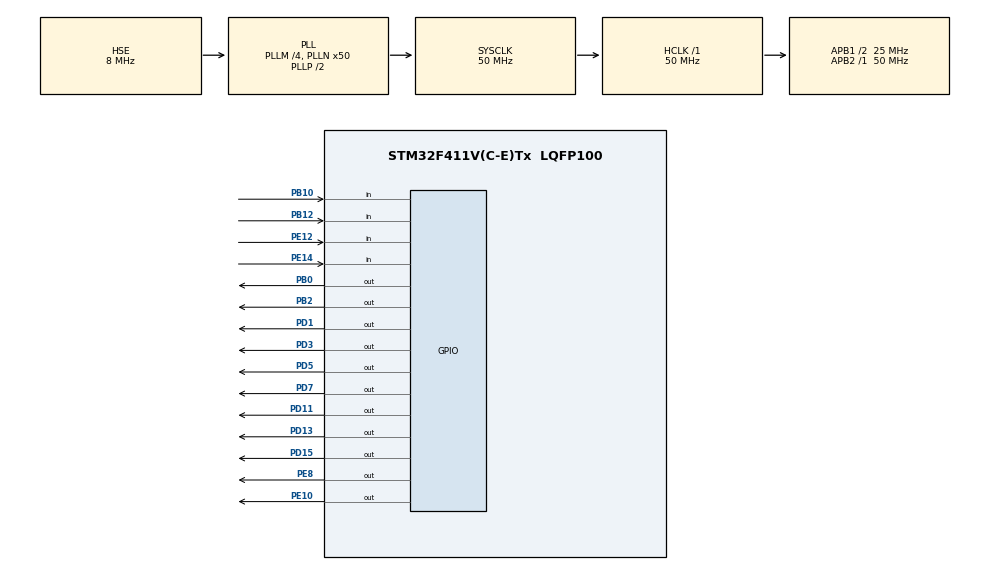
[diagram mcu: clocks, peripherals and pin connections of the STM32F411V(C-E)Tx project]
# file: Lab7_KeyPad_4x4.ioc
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Mcu.Family=STM32F4
Mcu.Name=STM32F411V(C-E)Tx
Mcu.Package=LQFP100
NVIC.PriorityGroup=NVIC_PRIORITYGROUP_4
PA13.Mode=Serial_Wire
PA13.Signal=SYS_JTMS-SWDIO
PA14.Mode=Serial_Wire
PA14.Signal=SYS_JTCK-SWCLK
PB0.Signal=GPIO_Output
PB10.GPIO_PuPd=GPIO_PULLUP
PB10.Signal=GPIO_Input
PB12.GPIO_PuPd=GPIO_PULLUP
PB12.Signal=GPIO_Input
PB2.Signal=GPIO_Output
PD1.GPIO_Speed=GPIO_SPEED_FREQ_MEDIUM
PD1.Signal=GPIO_Output
PD11.GPIO_Speed=GPIO_SPEED_FREQ_MEDIUM
PD11.Signal=GPIO_Output
PD13.GPIO_Speed=GPIO_SPEED_FREQ_MEDIUM
PD13.Signal=GPIO_Output
PD15.GPIO_Speed=GPIO_SPEED_FREQ_MEDIUM
PD15.Signal=GPIO_Output
PD3.GPIO_Speed=GPIO_SPEED_FREQ_MEDIUM
PD3.Signal=GPIO_Output
PD5.GPIO_Speed=GPIO_SPEED_FREQ_MEDIUM
PD5.Signal=GPIO_Output
PD7.GPIO_Speed=GPIO_SPEED_FREQ_MEDIUM
PD7.Signal=GPIO_Output
PE10.Signal=GPIO_Output
PE12.GPIO_PuPd=GPIO_PULLUP
PE12.Signal=GPIO_Input
PE14.GPIO_PuPd=GPIO_PULLUP
PE14.Signal=GPIO_Input
PE8.Signal=GPIO_Output
PH0\ -\ OSC_IN.Mode=HSE-External-Oscillator
PH0\ -\ OSC_IN.Signal=RCC_OSC_IN
PH1\ -\ OSC_OUT.Mode=HSE-External-Oscillator
PH1\ -\ OSC_OUT.Signal=RCC_OSC_OUT
ProjectManager.HeapSize=0x200
ProjectManager.StackSize=0x400
ProjectManager.TargetToolchain=STM32CubeIDE
RCC.48MHZClocksFreq_Value=25000000
RCC.AHBFreq_Value=50000000
RCC.APB1CLKDivider=RCC_HCLK_DIV2
RCC.APB1Freq_Value=25000000
RCC.APB1TimFreq_Value=50000000
RCC.APB2Freq_Value=50000000
RCC.APB2TimFreq_Value=50000000
RCC.CortexFreq_Value=50000000
RCC.HCLKFreq_Value=50000000
RCC.HSE_VALUE=8000000
RCC.HSI_VALUE=16000000
RCC.LSE_VALUE=32768
RCC.PLLM=4
RCC.PLLN=50
RCC.PLLSourceVirtual=RCC_PLLSOURCE_HSE
RCC.SYSCLKFreq_VALUE=50000000
RCC.SYSCLKSource=RCC_SYSCLKSOURCE_PLLCLK
RCC.VCOOutputFreq_Value=100000000
board=custom

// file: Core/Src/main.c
/* USER CODE BEGIN Header */
/**
  ******************************************************************************
  * @file           : main.c
  * @brief          : Main program body
  ******************************************************************************
  * @attention
  *
  * Copyright (c) 2022 STMicroelectronics.
  * All rights reserved.
  *
  * This software is licensed under terms that can be found in the LICENSE file
  * in the root directory of this software component.
  * If no LICENSE file comes with this software, it is provided AS-IS.
  *
  ******************************************************************************
  */
/* USER CODE END Header */
#include "main.h"

/* USER CODE BEGIN Includes */
#include "lcd_text.h"
#include "stdio.h"
#include "string.h"
/* USER CODE END Includes */

/* USER CODE BEGIN PD */
#define C1_PORT GPIOB
#define C1_PIN GPIO_PIN_0

#define C2_PORT GPIOB
#define C2_PIN GPIO_PIN_2

#define C3_PORT GPIOE
#define C3_PIN GPIO_PIN_8

#define C4_PORT GPIOE
#define C4_PIN GPIO_PIN_10

#define R1_PORT GPIOE
#define R1_PIN GPIO_PIN_12

#define R2_PORT GPIOE
#define R2_PIN GPIO_PIN_14

#define R3_PORT GPIOB
#define R3_PIN GPIO_PIN_10

#define R4_PORT GPIOB
#define R4_PIN GPIO_PIN_12
/* USER CODE END PD */

void SystemClock_Config(void);
static void MX_GPIO_Init(void);

/* USER CODE BEGIN 0 */
char key;
char stringArray[40] = "";
int count = 0;
char read_keypad(void) {
	/* Make ROW 1 LOW and all other ROWs HIGH */

	HAL_GPIO_WritePin(C1_PORT, C1_PIN, GPIO_PIN_RESET);
	HAL_GPIO_WritePin(C2_PORT, C2_PIN, GPIO_PIN_SET);
	HAL_GPIO_WritePin(C3_PORT, C3_PIN, GPIO_PIN_SET);
	HAL_GPIO_WritePin(C4_PORT, C4_PIN, GPIO_PIN_SET);

	if ((HAL_GPIO_ReadPin(R1_PORT, R1_PIN)) == 0)
			{
		while ((HAL_GPIO_ReadPin(R1_PORT, R1_PIN)) == 0)
			;
		return '1';
	}
	if ((HAL_GPIO_ReadPin(R2_PORT, R2_PIN)) == 0)
			{
		while ((HAL_GPIO_ReadPin(R2_PORT, R2_PIN)) == 0)
			;
		return '4';
	}
	if ((HAL_GPIO_ReadPin(R3_PORT, R3_PIN)) == 0)
			{
		while ((HAL_GPIO_ReadPin(R3_PORT, R3_PIN)) == 0)
			;
		return '7';
	}
	if ((HAL_GPIO_ReadPin(R4_PORT, R4_PIN)) == 0)
			{
		while ((HAL_GPIO_ReadPin(R4_PORT, R4_PIN)) == 0)
			;
		return '*';
	}

	HAL_GPIO_WritePin(C1_PORT, C1_PIN, GPIO_PIN_SET);
	HAL_GPIO_WritePin(C2_PORT, C2_PIN, GPIO_PIN_RESET);
	HAL_GPIO_WritePin(C3_PORT, C3_PIN, GPIO_PIN_SET);
	HAL_GPIO_WritePin(C4_PORT, C4_PIN, GPIO_PIN_SET);

	if ((HAL_GPIO_ReadPin(R1_PORT, R1_PIN)) == 0)
			{
		while ((HAL_GPIO_ReadPin(R1_PORT, R1_PIN)) == 0)
			;
		return '2';
	}
	if ((HAL_GPIO_ReadPin(R2_PORT, R2_PIN)) == 0)
			{
		while ((HAL_GPIO_ReadPin(R2_PORT, R2_PIN)) == 0)
			;
		return '5';
	}
	if ((HAL_GPIO_ReadPin(R3_PORT, R3_PIN)) == 0)
			{
		while ((HAL_GPIO_ReadPin(R3_PORT, R3_PIN)) == 0)
			;
		return '8';
	}
	if ((HAL_GPIO_ReadPin(R4_PORT, R4_PIN)) == 0)
			{
		while ((HAL_GPIO_ReadPin(R4_PORT, R4_PIN)) == 0)
			;
		return '0';
	}

	HAL_GPIO_WritePin(C1_PORT, C1_PIN, GPIO_PIN_SET);  //Pull the R1 low
	HAL_GPIO_WritePin(C2_PORT, C2_PIN, GPIO_PIN_SET);  // Pull the R2 High
	HAL_GPIO_WritePin(C3_PORT, C3_PIN, GPIO_PIN_RESET);  // Pull the R3 High
	HAL_GPIO_WritePin(C4_PORT, C4_PIN, GPIO_PIN_SET);  // Pull the R4 High
	if ((HAL_GPIO_ReadPin(R1_PORT, R1_PIN)) == 0)
			{
		while ((HAL_GPIO_ReadPin(R1_PORT, R1_PIN)) == 0)
			;
		return '3';
	}
	if ((HAL_GPIO_ReadPin(R2_PORT, R2_PIN)) == 0)
			{
		while ((HAL_GPIO_ReadPin(R2_PORT, R2_PIN)) == 0)
			;
		return '6';
	}
	if ((HAL_GPIO_ReadPin(R3_PORT, R3_PIN)) == 0)
			{
		while ((HAL_GPIO_ReadPin(R3_PORT, R3_PIN)) == 0)
			;
		return '9';
	}
	if ((HAL_GPIO_ReadPin(R4_PORT, R4_PIN)) == 0)
			{
		while ((HAL_GPIO_ReadPin(R4_PORT, R4_PIN)) == 0)
			;
		return '#';
	}

	HAL_GPIO_WritePin(C1_PORT, C1_PIN, GPIO_PIN_SET);  //Pull the R1 low
	HAL_GPIO_WritePin(C2_PORT, C2_PIN, GPIO_PIN_SET);  // Pull the R2 High
	HAL_GPIO_WritePin(C3_PORT, C3_PIN, GPIO_PIN_SET);  // Pull the R3 High
	HAL_GPIO_WritePin(C4_PORT, C4_PIN, GPIO_PIN_RESET);  // Pull the R4 High
	if ((HAL_GPIO_ReadPin(R1_PORT, R1_PIN)) == 0)
			{
		while ((HAL_GPIO_ReadPin(R1_PORT, R1_PIN)) == 0)
			;
		return 'A';
	}
	if ((HAL_GPIO_ReadPin(R2_PORT, R2_PIN)) == 0)
			{
		while ((HAL_GPIO_ReadPin(R2_PORT, R2_PIN)) == 0)
			;
		return 'B';
	}
	if ((HAL_GPIO_ReadPin(R3_PORT, R3_PIN)) == 0)
			{
		while ((HAL_GPIO_ReadPin(R3_PORT, R3_PIN)) == 0)
			;
		return 'C';
	}
	if ((HAL_GPIO_ReadPin(R4_PORT, R4_PIN)) == 0)
			{
		while ((HAL_GPIO_ReadPin(R4_PORT, R4_PIN)) == 0)
			;
		return 'D';
	}
	return '/';
}
/* USER CODE END 0 */

int main(void)
{

  /* MCU Configuration--------------------------------------------------------*/

  /* Reset of all peripherals, Initializes the Flash interface and the Systick. */
  HAL_Init();

  /* Configure the system clock */
  SystemClock_Config();

  /* Initialize all configured peripherals */
  MX_GPIO_Init();
  /* USER CODE BEGIN 2 */
  lcd_init();
  /* USER CODE END 2 */

  /* Infinite loop */
  /* USER CODE BEGIN WHILE */
  while (1)
  {
		key = read_keypad();
		if (key != '/') {
			stringArray[count] = key;
			lcd_puts(1, 0, (int8_t*) stringArray);
			count++;
		}
		lcd_puts(0, 0, (int8_t*) "Test LCD 1602");
		HAL_Delay(100);
    /* USER CODE END WHILE */

  }
}

void SystemClock_Config(void)
{
  RCC_OscInitTypeDef RCC_OscInitStruct = {0};
  RCC_ClkInitTypeDef RCC_ClkInitStruct = {0};

  /** Configure the main internal regulator output voltage
  */
  __HAL_RCC_PWR_CLK_ENABLE();
  __HAL_PWR_VOLTAGESCALING_CONFIG(PWR_REGULATOR_VOLTAGE_SCALE1);

  /** Initializes the RCC Oscillators according to the specified parameters
  * in the RCC_OscInitTypeDef structure.
  */
  RCC_OscInitStruct.OscillatorType = RCC_OSCILLATORTYPE_HSE;
  RCC_OscInitStruct.HSEState = RCC_HSE_ON;
  RCC_OscInitStruct.PLL.PLLState = RCC_PLL_ON;
  RCC_OscInitStruct.PLL.PLLSource = RCC_PLLSOURCE_HSE;
  RCC_OscInitStruct.PLL.PLLM = 4;
  RCC_OscInitStruct.PLL.PLLN = 50;
  RCC_OscInitStruct.PLL.PLLP = RCC_PLLP_DIV2;
  RCC_OscInitStruct.PLL.PLLQ = 4;
  if (HAL_RCC_OscConfig(&RCC_OscInitStruct) != HAL_OK)
  {
    Error_Handler();
  }

  /** Initializes the CPU, AHB and APB buses clocks
  */
  RCC_ClkInitStruct.ClockType = RCC_CLOCKTYPE_HCLK|RCC_CLOCKTYPE_SYSCLK
                              |RCC_CLOCKTYPE_PCLK1|RCC_CLOCKTYPE_PCLK2;
  RCC_ClkInitStruct.SYSCLKSource = RCC_SYSCLKSOURCE_PLLCLK;
  RCC_ClkInitStruct.AHBCLKDivider = RCC_SYSCLK_DIV1;
  RCC_ClkInitStruct.APB1CLKDivider = RCC_HCLK_DIV2;
  RCC_ClkInitStruct.APB2CLKDivider = RCC_HCLK_DIV1;

  if (HAL_RCC_ClockConfig(&RCC_ClkInitStruct, FLASH_LATENCY_1) != HAL_OK)
  {
    Error_Handler();
  }
}

static void MX_GPIO_Init(void)
{
  GPIO_InitTypeDef GPIO_InitStruct = {0};

  /* GPIO Ports Clock Enable */
  __HAL_RCC_GPIOH_CLK_ENABLE();
  __HAL_RCC_GPIOB_CLK_ENABLE();
  __HAL_RCC_GPIOE_CLK_ENABLE();
  __HAL_RCC_GPIOD_CLK_ENABLE();
  __HAL_RCC_GPIOA_CLK_ENABLE();

  /*Configure GPIO pin Output Level */
  HAL_GPIO_WritePin(GPIOB, GPIO_PIN_0|GPIO_PIN_2, GPIO_PIN_RESET);

  /*Configure GPIO pin Output Level */
  HAL_GPIO_WritePin(GPIOE, GPIO_PIN_8|GPIO_PIN_10, GPIO_PIN_RESET);

  /*Configure GPIO pin Output Level */
  HAL_GPIO_WritePin(GPIOD, GPIO_PIN_11|GPIO_PIN_13|GPIO_PIN_15|GPIO_PIN_1
                          |GPIO_PIN_3|GPIO_PIN_5|GPIO_PIN_7, GPIO_PIN_RESET);

  /*Configure GPIO pins : PB0 PB2 */
  GPIO_InitStruct.Pin = GPIO_PIN_0|GPIO_PIN_2;
  GPIO_InitStruct.Mode = GPIO_MODE_OUTPUT_PP;
  GPIO_InitStruct.Pull = GPIO_NOPULL;
  GPIO_InitStruct.Speed = GPIO_SPEED_FREQ_LOW;
  HAL_GPIO_Init(GPIOB, &GPIO_InitStruct);

  /*Configure GPIO pins : PE8 PE10 */
  GPIO_InitStruct.Pin = GPIO_PIN_8|GPIO_PIN_10;
  GPIO_InitStruct.Mode = GPIO_MODE_OUTPUT_PP;
  GPIO_InitStruct.Pull = GPIO_NOPULL;
  GPIO_InitStruct.Speed = GPIO_SPEED_FREQ_LOW;
  HAL_GPIO_Init(GPIOE, &GPIO_InitStruct);

  /*Configure GPIO pins : PE12 PE14 */
  GPIO_InitStruct.Pin = GPIO_PIN_12|GPIO_PIN_14;
  GPIO_InitStruct.Mode = GPIO_MODE_INPUT;
  GPIO_InitStruct.Pull = GPIO_PULLUP;
  HAL_GPIO_Init(GPIOE, &GPIO_InitStruct);

  /*Configure GPIO pins : PB10 PB12 */
  GPIO_InitStruct.Pin = GPIO_PIN_10|GPIO_PIN_12;
  GPIO_InitStruct.Mode = GPIO_MODE_INPUT;
  GPIO_InitStruct.Pull = GPIO_PULLUP;
  HAL_GPIO_Init(GPIOB, &GPIO_InitStruct);

  /*Configure GPIO pins : PD11 PD13 PD15 PD1
                           PD3 PD5 PD7 */
  GPIO_InitStruct.Pin = GPIO_PIN_11|GPIO_PIN_13|GPIO_PIN_15|GPIO_PIN_1
                          |GPIO_PIN_3|GPIO_PIN_5|GPIO_PIN_7;
  GPIO_InitStruct.Mode = GPIO_MODE_OUTPUT_PP;
  GPIO_InitStruct.Pull = GPIO_NOPULL;
  GPIO_InitStruct.Speed = GPIO_SPEED_FREQ_MEDIUM;
  HAL_GPIO_Init(GPIOD, &GPIO_InitStruct);

}

void Error_Handler(void)
{
  __disable_irq();
  while (1)
  {
  }
}
